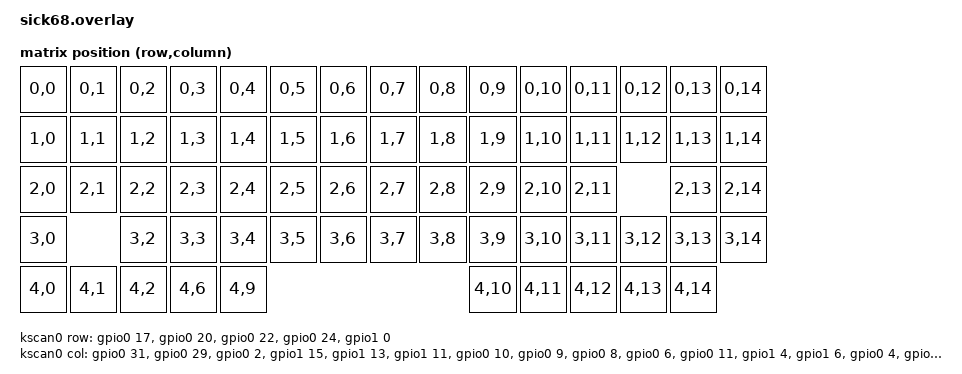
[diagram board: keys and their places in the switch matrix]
/*
 * SiCK-68 ZMK Shield Overlay
 * Controller: Nice!Nano (nRF52840)
 *
 * Using native &gpio0 / &gpio1 pins directly instead of &pro_micro
 * to avoid pro_micro gpio-map boundary issues.
 *
 * Nice!Nano v2 physical pin → nRF52840 GPIO mapping:
 *
 *  Left side  (top to bottom):
 *   Pin 1  → P0.06   (D1 / TX)
 *   Pin 2  → P0.08   (D0 / RX)
 *   Pin 3  → P0.17   (D2)
 *   Pin 4  → P0.20   (D3)
 *   Pin 5  → P0.22   (D4)
 *   Pin 6  → P0.24   (D5)
 *   Pin 7  → P1.00   (D6)
 *   Pin 8  → P0.11   (D7)
 *   Pin 9  → P1.04   (D8)
 *   Pin 10 → P1.06   (D9)
 *
 *  Right side (top to bottom, skipping VCC/RAW/RST/GND):
 *   Pin 21 → P0.31   (A0)
 *   Pin 20 → P0.29   (A1)
 *   Pin 19 → P0.02   (A2)
 *   Pin 18 → P1.15   (A3)
 *   Pin 17 → P1.13   (A4)
 *   Pin 16 → P1.11   (A5)
 *   Pin 15 → P0.10   (15)
 *   Pin 14 → P0.09   (14)  -- also SDA
 *   Pin 13 → P0.13   -- actually "SCL" labelled pin on nice_nano
 *             wait — see note below
 *
 * ⚠️  nice_nano only exposes these pins safely. We have 15 cols + 5 rows = 20 pins needed.
 *     All 20 fit within the available GPIOs below.
 *
 * Rows (5):   use left-side pins D2–D6  (P0.17, P0.20, P0.22, P0.24, P1.00)
 * Cols (15):  use D7,D8,D9 + A0–A5 + pins 14,15 + D0,D1 + two more (P1.02, P1.04 re-used carefully)
 *
 * Final safe assignment:
 *  Row 0 (B0) → P0.17
 *  Row 1 (B1) → P0.20
 *  Row 2 (B2) → P0.22
 *  Row 3 (B3) → P0.24
 *  Row 4 (B7) → P1.00
 *
 *  Col  0 (F5) → P0.31  (A0)
 *  Col  1 (F6) → P0.29  (A1)
 *  Col  2 (F7) → P0.02  (A2)
 *  Col  3 (B6) → P1.15  (A3)
 *  Col  4 (B5) → P1.13  (A4)
 *  Col  5 (B4) → P1.11  (A5)
 *  Col  6 (D7) → P0.10  (15)
 *  Col  7 (D4) → P0.09  (14)
 *  Col  8 (D5) → P0.08  (D0/RX)
 *  Col  9 (C7) → P0.06  (D1/TX)
 *  Col 10 (C6) → P0.11  (D7)
 *  Col 11 (D3) → P1.04  (D8)
 *  Col 12 (D2) → P1.06  (D9)
 *  Col 13 (D1) → P0.04  -- nice_nano SDA (check if available on your board)
 *  Col 14 (D0) → P0.26  -- nice_nano SCL (check if available on your board)
 *
 * ⚠️  If P0.04 or P0.26 are not broken out on your board,
 *     you may need to remap col 13 and col 14 to different pins.
 *     Some Nice!Nano variants label these as I2C pins and do expose them.
 */

#include <dt-bindings/zmk/matrix_transform.h>

/ {
    chosen {
        zmk,kscan = &kscan0;
        zmk,matrix_transform = &default_transform;
    };

    default_transform: keymap_transform_0 {
        compatible = "zmk,matrix-transform";
        columns = <15>;
        rows = <5>;

        map = <
            RC(0,0)  RC(0,1)  RC(0,2)  RC(0,3)  RC(0,4)  RC(0,5)  RC(0,6)  RC(0,7)  RC(0,8)  RC(0,9)  RC(0,10) RC(0,11) RC(0,12) RC(0,13) RC(0,14)
            RC(1,0)  RC(1,1)  RC(1,2)  RC(1,3)  RC(1,4)  RC(1,5)  RC(1,6)  RC(1,7)  RC(1,8)  RC(1,9)  RC(1,10) RC(1,11) RC(1,12) RC(1,13) RC(1,14)
            RC(2,0)  RC(2,1)  RC(2,2)  RC(2,3)  RC(2,4)  RC(2,5)  RC(2,6)  RC(2,7)  RC(2,8)  RC(2,9)  RC(2,10) RC(2,11)          RC(2,13) RC(2,14)
            RC(3,0)           RC(3,2)  RC(3,3)  RC(3,4)  RC(3,5)  RC(3,6)  RC(3,7)  RC(3,8)  RC(3,9)  RC(3,10) RC(3,11) RC(3,12) RC(3,13) RC(3,14)
            RC(4,0)  RC(4,1)  RC(4,2)                    RC(4,6)                     RC(4,9)  RC(4,10) RC(4,11) RC(4,12) RC(4,13) RC(4,14)
        >;
    };

    kscan0: kscan {
        compatible = "zmk,kscan-gpio-matrix";
        label = "KSCAN";
        diode-direction = "col2row";

        row-gpios
            = <&gpio0 17 (GPIO_ACTIVE_HIGH | GPIO_PULL_DOWN)>   /* Row 0: B0 */
            , <&gpio0 20 (GPIO_ACTIVE_HIGH | GPIO_PULL_DOWN)>   /* Row 1: B1 */
            , <&gpio0 22 (GPIO_ACTIVE_HIGH | GPIO_PULL_DOWN)>   /* Row 2: B2 */
            , <&gpio0 24 (GPIO_ACTIVE_HIGH | GPIO_PULL_DOWN)>   /* Row 3: B3 */
            , <&gpio1  0 (GPIO_ACTIVE_HIGH | GPIO_PULL_DOWN)>   /* Row 4: B7 */
            ;

        col-gpios
            = <&gpio0 31 GPIO_ACTIVE_HIGH>   /* Col  0: F5 */
            , <&gpio0 29 GPIO_ACTIVE_HIGH>   /* Col  1: F6 */
            , <&gpio0  2 GPIO_ACTIVE_HIGH>   /* Col  2: F7 */
            , <&gpio1 15 GPIO_ACTIVE_HIGH>   /* Col  3: B6 */
            , <&gpio1 13 GPIO_ACTIVE_HIGH>   /* Col  4: B5 */
            , <&gpio1 11 GPIO_ACTIVE_HIGH>   /* Col  5: B4 */
            , <&gpio0 10 GPIO_ACTIVE_HIGH>   /* Col  6: D7 */
            , <&gpio0  9 GPIO_ACTIVE_HIGH>   /* Col  7: D4 */
            , <&gpio0  8 GPIO_ACTIVE_HIGH>   /* Col  8: D5 */
            , <&gpio0  6 GPIO_ACTIVE_HIGH>   /* Col  9: C7 */
            , <&gpio0 11 GPIO_ACTIVE_HIGH>   /* Col 10: C6 */
            , <&gpio1  4 GPIO_ACTIVE_HIGH>   /* Col 11: D3 */
            , <&gpio1  6 GPIO_ACTIVE_HIGH>   /* Col 12: D2 */
            , <&gpio0  4 GPIO_ACTIVE_HIGH>   /* Col 13: D1 */
            , <&gpio0 26 GPIO_ACTIVE_HIGH>   /* Col 14: D0 */
            ;
    };
};
